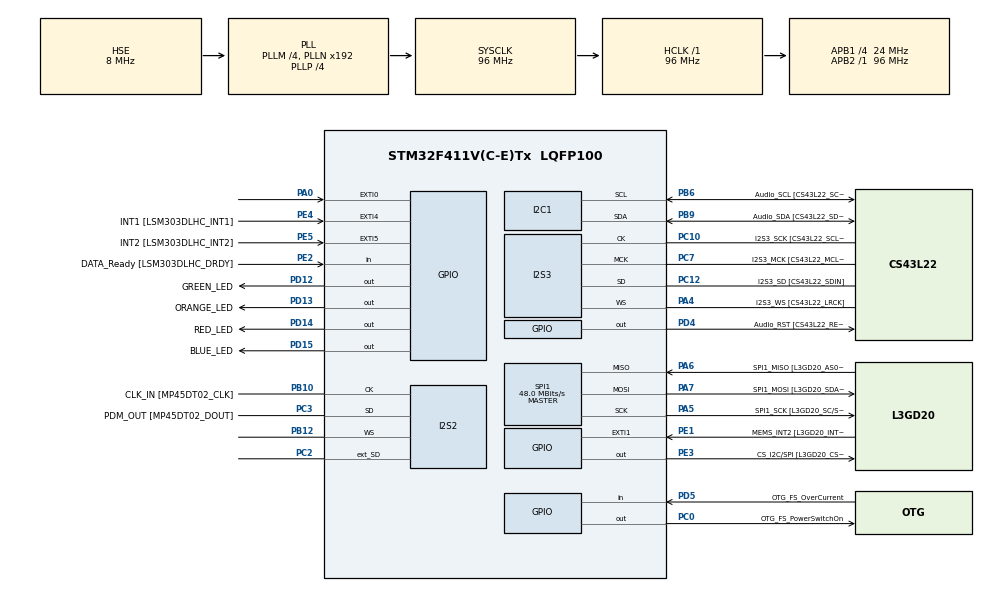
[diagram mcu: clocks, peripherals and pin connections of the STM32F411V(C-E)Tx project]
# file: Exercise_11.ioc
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FREERTOS.BinarySemaphores01=CriticalResourceSemaphore,Dynamic,NULL
FREERTOS.Tasks01=GREEN_LED,0,128,Start_GREEN_LED,Default,NULL,Dynamic,NULL,NULL;RED_LED,2,128,Start_RED_LED,Default,NULL,Dynamic,NULL,NULL;ORANGE_LED,1,128,Start_ORANGE_LED,Default,NULL,Dynamic,NULL,NULL
I2S2.AudioFreq=I2S_AUDIOFREQ_96K
I2S2.ErrorAudioFreq=0.15 %
I2S2.FullDuplexMode=I2S_FULLDUPLEXMODE_ENABLE
I2S2.Instance=SPI$Index
I2S2.RealAudioFreq=96.153 KHz
I2S2.VirtualMode=I2S_MODE_MASTER
I2S3.AudioFreq=I2S_AUDIOFREQ_96K
I2S3.ErrorAudioFreq=-6.99 %
I2S3.FullDuplexMode=I2S_FULLDUPLEXMODE_DISABLE
I2S3.Instance=SPI$Index
I2S3.RealAudioFreq=89.285 KHz
I2S3.VirtualMode=I2S_MODE_MASTER
Mcu.Family=STM32F4
Mcu.Name=STM32F411V(C-E)Tx
Mcu.Package=LQFP100
NVIC.PriorityGroup=NVIC_PRIORITYGROUP_4
NVIC.TIM1_UP_TIM10_IRQn=true\:0\:0\:false\:false\:true\:false\:false\:true
NVIC.TimeBase=TIM1_UP_TIM10_IRQn
NVIC.TimeBaseIP=TIM1
PA0-WKUP.GPIO_ModeDefaultEXTI=GPIO_MODE_EVT_RISING
PA0-WKUP.Signal=GPXTI0
PA10.GPIO_Label=OTG_FS_ID
PA10.Signal=USB_OTG_FS_ID
PA11.GPIO_Label=OTG_FS_DM
PA11.Signal=USB_OTG_FS_DM
PA12.GPIO_Label=OTG_FS_DP
PA12.Signal=USB_OTG_FS_DP
PA13.GPIO_Label=SWDIO
PA13.Mode=Serial_Wire
PA13.Signal=SYS_JTMS-SWDIO
PA14.GPIO_Label=SWCLK
PA14.Mode=Serial_Wire
PA14.Signal=SYS_JTCK-SWCLK
PA4.GPIO_Label=I2S3_WS [CS43L22_LRCK]
PA4.GPIO_Mode=GPIO_MODE_AF_PP
PA4.GPIO_PuPd=GPIO_NOPULL
PA4.GPIO_Speed=GPIO_SPEED_FREQ_LOW
PA4.Mode=Half_Duplex_Master
PA4.Signal=I2S3_WS
PA5.GPIO_Label=SPI1_SCK [L3GD20_SC/SPC]
PA5.Mode=Full_Duplex_Master
PA5.Signal=SPI1_SCK
PA6.GPIO_Label=SPI1_MISO [L3GD20_AS0/SDO]
PA6.Mode=Full_Duplex_Master
PA6.Signal=SPI1_MISO
PA7.GPIO_Label=SPI1_MOSI [L3GD20_SDA/SDI/SDO]
PA7.Mode=Full_Duplex_Master
PA7.Signal=SPI1_MOSI
PA9.GPIO_Label=VBUS_FS
PA9.Signal=USB_OTG_FS_VBUS
PB10.GPIO_Label=CLK_IN [MP45DT02_CLK]
PB10.Mode=Full_Duplex_Master
PB10.Signal=I2S2_CK
PB12.Mode=Full_Duplex_Master
PB12.Signal=I2S2_WS
PB3.GPIO_Label=SWO
PB3.Signal=SYS_JTDO-SWO
PB6.GPIO_Label=Audio_SCL [CS43L22_SCL]
PB6.GPIO_Mode=GPIO_MODE_AF_OD
PB6.GPIO_PuPd=GPIO_NOPULL
PB6.GPIO_Speed=GPIO_SPEED_FREQ_LOW
PB6.Mode=I2C
PB6.Signal=I2C1_SCL
PB9.GPIO_Label=Audio_SDA [CS43L22_SDA]
PB9.GPIO_Mode=GPIO_MODE_AF_OD
PB9.GPIO_PuPd=GPIO_NOPULL
PB9.GPIO_Speed=GPIO_SPEED_FREQ_LOW
PB9.Mode=I2C
PB9.Signal=I2C1_SDA
PC0.GPIO_Label=OTG_FS_PowerSwitchOn
PC0.PinState=GPIO_PIN_SET
PC0.Signal=GPIO_Output
PC10.GPIO_Label=I2S3_SCK [CS43L22_SCLK]
PC10.GPIO_Mode=GPIO_MODE_AF_PP
PC10.GPIO_PuPd=GPIO_NOPULL
PC10.GPIO_Speed=GPIO_SPEED_FREQ_LOW
PC10.Mode=Half_Duplex_Master
PC10.Signal=I2S3_CK
PC12.GPIO_Label=I2S3_SD [CS43L22_SDIN]
PC12.GPIO_Mode=GPIO_MODE_AF_PP
PC12.GPIO_PuPd=GPIO_NOPULL
PC12.GPIO_Speed=GPIO_SPEED_FREQ_LOW
PC12.Mode=Half_Duplex_Master
PC12.Signal=I2S3_SD
PC14-OSC32_IN.GPIO_Label=PC14-OSC32_IN
PC14-OSC32_IN.Mode=LSE-External-Oscillator
PC14-OSC32_IN.Signal=RCC_OSC32_IN
PC15-OSC32_OUT.GPIO_Label=PC15-OSC32_OUT
PC15-OSC32_OUT.Mode=LSE-External-Oscillator
PC15-OSC32_OUT.Signal=RCC_OSC32_OUT
PC2.Mode=Full_Duplex_Master
PC2.Signal=I2S2_ext_SD
PC3.GPIO_Label=PDM_OUT [MP45DT02_DOUT]
PC3.Mode=Full_Duplex_Master
PC3.Signal=I2S2_SD
PC7.GPIO_Label=I2S3_MCK [CS43L22_MCLK]
PC7.GPIO_Mode=GPIO_MODE_AF_PP
PC7.GPIO_PuPd=GPIO_NOPULL
PC7.GPIO_Speed=GPIO_SPEED_FREQ_LOW
PC7.Mode=Master_Clock_Activated
PC7.Signal=I2S3_MCK
PD12.GPIO_Label=GREEN_LED
PD12.GPIO_PuPd=GPIO_NOPULL
PD12.GPIO_Speed=GPIO_SPEED_FREQ_LOW
PD12.Signal=GPIO_Output
PD13.GPIO_Label=ORANGE_LED
PD13.GPIO_PuPd=GPIO_NOPULL
PD13.GPIO_Speed=GPIO_SPEED_FREQ_LOW
PD13.Signal=GPIO_Output
PD14.GPIO_Label=RED_LED
PD14.GPIO_PuPd=GPIO_NOPULL
PD14.GPIO_Speed=GPIO_SPEED_FREQ_LOW
PD14.Signal=GPIO_Output
PD15.GPIO_Label=BLUE_LED
PD15.GPIO_PuPd=GPIO_NOPULL
PD15.GPIO_Speed=GPIO_SPEED_FREQ_LOW
PD15.Signal=GPIO_Output
PD4.GPIO_Label=Audio_RST [CS43L22_RESET]
PD4.Signal=GPIO_Output
PD5.GPIO_Label=OTG_FS_OverCurrent
PD5.Signal=GPIO_Input
PE1.GPIO_Label=MEMS_INT2 [L3GD20_INT2]
PE1.GPIO_ModeDefaultEXTI=GPIO_MODE_EVT_RISING
PE1.Signal=GPXTI1
PE2.GPIO_Label=DATA_Ready [LSM303DLHC_DRDY]
PE2.Signal=GPIO_Input
PE3.GPIO_Label=CS_I2C/SPI [L3GD20_CS_I2C/SPI]
PE3.Signal=GPIO_Output
PE4.GPIO_Label=INT1 [LSM303DLHC_INT1]
PE4.GPIO_ModeDefaultEXTI=GPIO_MODE_EVT_RISING
PE4.Signal=GPXTI4
PE5.GPIO_Label=INT2 [LSM303DLHC_INT2]
PE5.GPIO_ModeDefaultEXTI=GPIO_MODE_EVT_RISING
PE5.Signal=GPXTI5
PH0\ -\ OSC_IN.GPIO_Label=PH0-OSC_IN
PH0\ -\ OSC_IN.Mode=HSE-External-Oscillator
PH0\ -\ OSC_IN.Signal=RCC_OSC_IN
PH1\ -\ OSC_OUT.GPIO_Label=PH1-OSC_OUT
PH1\ -\ OSC_OUT.Mode=HSE-External-Oscillator
PH1\ -\ OSC_OUT.Signal=RCC_OSC_OUT
ProjectManager.HeapSize=0x200
ProjectManager.StackSize=0x400
ProjectManager.TargetToolchain=STM32CubeIDE
RCC.48MHZClocksFreq_Value=48000000
RCC.AHBFreq_Value=96000000
RCC.APB1CLKDivider=RCC_HCLK_DIV4
RCC.APB1Freq_Value=24000000
RCC.APB1TimFreq_Value=48000000
RCC.APB2Freq_Value=96000000
RCC.APB2TimFreq_Value=96000000
RCC.CortexFreq_Value=96000000
RCC.HCLKFreq_Value=96000000
RCC.HSE_VALUE=8000000
RCC.HSI_VALUE=16000000
RCC.PLLI2SM=5
RCC.PLLI2SN=200
RCC.PLLM=4
RCC.PLLP=RCC_PLLP_DIV4
RCC.PLLQ=8
RCC.PLLSourceVirtual=RCC_PLLSOURCE_HSE
RCC.SYSCLKFreq_VALUE=96000000
RCC.SYSCLKSource=RCC_SYSCLKSOURCE_PLLCLK
RCC.VCOOutputFreq_Value=384000000
SPI1.BaudRatePrescaler=SPI_BAUDRATEPRESCALER_2
SPI1.CalculateBaudRate=48.0 MBits/s
SPI1.Direction=SPI_DIRECTION_2LINES
SPI1.Mode=SPI_MODE_MASTER
SPI1.VirtualType=VM_MASTER
VP_FREERTOS_VS_CMSIS_V1.Mode=CMSIS_V1
VP_SYS_VS_tim1.Mode=TIM1
board=STM32F411E-DISCO

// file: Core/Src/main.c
/* USER CODE BEGIN Header */
/**
  ******************************************************************************
  * @file           : main.c
  * @brief          : Main program body
  ******************************************************************************
  * @attention
  *
  * <h2><center>&copy; Copyright (c) 2024 STMicroelectronics.
  * All rights reserved.</center></h2>
  *
  * This software component is licensed by ST under Ultimate Liberty license
  * SLA0044, the "License"; You may not use this file except in compliance with
  * the License. You may obtain a copy of the License at:
  *                             www.st.com/SLA0044
  *
  ******************************************************************************
  */
/* USER CODE END Header */

#include "main.h"
#include "cmsis_os.h"

I2C_HandleTypeDef hi2c1;

I2S_HandleTypeDef hi2s2;
I2S_HandleTypeDef hi2s3;

SPI_HandleTypeDef hspi1;

osThreadId GREEN_LEDHandle;
osThreadId RED_LEDHandle;
osThreadId ORANGE_LEDHandle;
osSemaphoreId CriticalResourceSemaphoreHandle;

void SystemClock_Config(void);
static void MX_GPIO_Init(void);
static void MX_I2C1_Init(void);
static void MX_I2S2_Init(void);
static void MX_I2S3_Init(void);
static void MX_SPI1_Init(void);
void Start_GREEN_LED(void const * argument);
void Start_RED_LED(void const * argument);
void Start_ORANGE_LED(void const * argument);

/* USER CODE BEGIN 0 */
void accessFunction(int GPIO_PIN)
{
  osSemaphoreWait(CriticalResourceSemaphoreHandle, osWaitForever);
  for(int i = 0; i < 10; i++)
  {
	switch(GPIO_PIN)
	{
	case RED_LED_Pin:
		HAL_GPIO_WritePin(RED_LED_GPIO_Port, RED_LED_Pin,GPIO_PIN_SET);
		HAL_GPIO_WritePin(GREEN_LED_GPIO_Port, GREEN_LED_Pin,GPIO_PIN_RESET);
		break;
	case GREEN_LED_Pin:
		HAL_GPIO_WritePin(RED_LED_GPIO_Port, RED_LED_Pin,GPIO_PIN_RESET);
		HAL_GPIO_WritePin(GREEN_LED_GPIO_Port, GREEN_LED_Pin,GPIO_PIN_SET);
		break;
	}
	HAL_GPIO_TogglePin(BLUE_LED_GPIO_Port, BLUE_LED_Pin);
	for(int j = 0; j < 2000000; j++);
  }

  HAL_GPIO_WritePin(RED_LED_GPIO_Port, RED_LED_Pin,GPIO_PIN_RESET);
  HAL_GPIO_WritePin(GREEN_LED_GPIO_Port, GREEN_LED_Pin,GPIO_PIN_RESET);
  osSemaphoreRelease(CriticalResourceSemaphoreHandle);
  return;
}
/* USER CODE END 0 */

int main(void)
{

  /* MCU Configuration--------------------------------------------------------*/

  /* Reset of all peripherals, Initializes the Flash interface and the Systick. */
  HAL_Init();

  /* Configure the system clock */
  SystemClock_Config();

  /* Initialize all configured peripherals */
  MX_GPIO_Init();
  MX_I2C1_Init();
  MX_I2S2_Init();
  MX_I2S3_Init();
  MX_SPI1_Init();

  /* Create the semaphores(s) */
  /* definition and creation of CriticalResourceSemaphore */
  osSemaphoreDef(CriticalResourceSemaphore);
  CriticalResourceSemaphoreHandle = osSemaphoreCreate(osSemaphore(CriticalResourceSemaphore), 1);

  /* Create the thread(s) */
  /* definition and creation of GREEN_LED */
  osThreadDef(GREEN_LED, Start_GREEN_LED, osPriorityNormal, 0, 128);
  GREEN_LEDHandle = osThreadCreate(osThread(GREEN_LED), NULL);

  /* definition and creation of RED_LED */
  osThreadDef(RED_LED, Start_RED_LED, osPriorityHigh, 0, 128);
  RED_LEDHandle = osThreadCreate(osThread(RED_LED), NULL);

  /* definition and creation of ORANGE_LED */
  osThreadDef(ORANGE_LED, Start_ORANGE_LED, osPriorityAboveNormal, 0, 128);
  ORANGE_LEDHandle = osThreadCreate(osThread(ORANGE_LED), NULL);

  /* Start scheduler */
  osKernelStart();

  /* We should never get here as control is now taken by the scheduler */

  /* Infinite loop */
  while (1)
  {

  }
}

void SystemClock_Config(void)
{
  RCC_OscInitTypeDef RCC_OscInitStruct = {0};
  RCC_ClkInitTypeDef RCC_ClkInitStruct = {0};
  RCC_PeriphCLKInitTypeDef PeriphClkInitStruct = {0};

  /** Configure the main internal regulator output voltage
  */
  __HAL_RCC_PWR_CLK_ENABLE();
  __HAL_PWR_VOLTAGESCALING_CONFIG(PWR_REGULATOR_VOLTAGE_SCALE1);
  /** Initializes the CPU, AHB and APB busses clocks
  */
  RCC_OscInitStruct.OscillatorType = RCC_OSCILLATORTYPE_HSE;
  RCC_OscInitStruct.HSEState = RCC_HSE_ON;
  RCC_OscInitStruct.PLL.PLLState = RCC_PLL_ON;
  RCC_OscInitStruct.PLL.PLLSource = RCC_PLLSOURCE_HSE;
  RCC_OscInitStruct.PLL.PLLM = 4;
  RCC_OscInitStruct.PLL.PLLN = 192;
  RCC_OscInitStruct.PLL.PLLP = RCC_PLLP_DIV4;
  RCC_OscInitStruct.PLL.PLLQ = 8;
  if (HAL_RCC_OscConfig(&RCC_OscInitStruct) != HAL_OK)
  {
    Error_Handler();
  }
  /** Initializes the CPU, AHB and APB busses clocks
  */
  RCC_ClkInitStruct.ClockType = RCC_CLOCKTYPE_HCLK|RCC_CLOCKTYPE_SYSCLK
                              |RCC_CLOCKTYPE_PCLK1|RCC_CLOCKTYPE_PCLK2;
  RCC_ClkInitStruct.SYSCLKSource = RCC_SYSCLKSOURCE_PLLCLK;
  RCC_ClkInitStruct.AHBCLKDivider = RCC_SYSCLK_DIV1;
  RCC_ClkInitStruct.APB1CLKDivider = RCC_HCLK_DIV4;
  RCC_ClkInitStruct.APB2CLKDivider = RCC_HCLK_DIV1;

  if (HAL_RCC_ClockConfig(&RCC_ClkInitStruct, FLASH_LATENCY_3) != HAL_OK)
  {
    Error_Handler();
  }
  PeriphClkInitStruct.PeriphClockSelection = RCC_PERIPHCLK_I2S;
  PeriphClkInitStruct.PLLI2S.PLLI2SN = 200;
  PeriphClkInitStruct.PLLI2S.PLLI2SM = 5;
  PeriphClkInitStruct.PLLI2S.PLLI2SR = 2;
  if (HAL_RCCEx_PeriphCLKConfig(&PeriphClkInitStruct) != HAL_OK)
  {
    Error_Handler();
  }
}

static void MX_I2C1_Init(void)
{

  hi2c1.Instance = I2C1;
  hi2c1.Init.ClockSpeed = 100000;
  hi2c1.Init.DutyCycle = I2C_DUTYCYCLE_2;
  hi2c1.Init.OwnAddress1 = 0;
  hi2c1.Init.AddressingMode = I2C_ADDRESSINGMODE_7BIT;
  hi2c1.Init.DualAddressMode = I2C_DUALADDRESS_DISABLE;
  hi2c1.Init.OwnAddress2 = 0;
  hi2c1.Init.GeneralCallMode = I2C_GENERALCALL_DISABLE;
  hi2c1.Init.NoStretchMode = I2C_NOSTRETCH_DISABLE;
  if (HAL_I2C_Init(&hi2c1) != HAL_OK)
  {
    Error_Handler();
  }

}

static void MX_I2S2_Init(void)
{

  hi2s2.Instance = SPI2;
  hi2s2.Init.Mode = I2S_MODE_MASTER_TX;
  hi2s2.Init.Standard = I2S_STANDARD_PHILIPS;
  hi2s2.Init.DataFormat = I2S_DATAFORMAT_16B;
  hi2s2.Init.MCLKOutput = I2S_MCLKOUTPUT_DISABLE;
  hi2s2.Init.AudioFreq = I2S_AUDIOFREQ_96K;
  hi2s2.Init.CPOL = I2S_CPOL_LOW;
  hi2s2.Init.ClockSource = I2S_CLOCK_PLL;
  hi2s2.Init.FullDuplexMode = I2S_FULLDUPLEXMODE_ENABLE;
  if (HAL_I2S_Init(&hi2s2) != HAL_OK)
  {
    Error_Handler();
  }

}

static void MX_I2S3_Init(void)
{

  hi2s3.Instance = SPI3;
  hi2s3.Init.Mode = I2S_MODE_MASTER_TX;
  hi2s3.Init.Standard = I2S_STANDARD_PHILIPS;
  hi2s3.Init.DataFormat = I2S_DATAFORMAT_16B;
  hi2s3.Init.MCLKOutput = I2S_MCLKOUTPUT_ENABLE;
  hi2s3.Init.AudioFreq = I2S_AUDIOFREQ_96K;
  hi2s3.Init.CPOL = I2S_CPOL_LOW;
  hi2s3.Init.ClockSource = I2S_CLOCK_PLL;
  hi2s3.Init.FullDuplexMode = I2S_FULLDUPLEXMODE_DISABLE;
  if (HAL_I2S_Init(&hi2s3) != HAL_OK)
  {
    Error_Handler();
  }

}

static void MX_SPI1_Init(void)
{

  /* SPI1 parameter configuration*/
  hspi1.Instance = SPI1;
  hspi1.Init.Mode = SPI_MODE_MASTER;
  hspi1.Init.Direction = SPI_DIRECTION_2LINES;
  hspi1.Init.DataSize = SPI_DATASIZE_8BIT;
  hspi1.Init.CLKPolarity = SPI_POLARITY_LOW;
  hspi1.Init.CLKPhase = SPI_PHASE_1EDGE;
  hspi1.Init.NSS = SPI_NSS_SOFT;
  hspi1.Init.BaudRatePrescaler = SPI_BAUDRATEPRESCALER_2;
  hspi1.Init.FirstBit = SPI_FIRSTBIT_MSB;
  hspi1.Init.TIMode = SPI_TIMODE_DISABLE;
  hspi1.Init.CRCCalculation = SPI_CRCCALCULATION_DISABLE;
  hspi1.Init.CRCPolynomial = 10;
  if (HAL_SPI_Init(&hspi1) != HAL_OK)
  {
    Error_Handler();
  }

}

static void MX_GPIO_Init(void)
{
  GPIO_InitTypeDef GPIO_InitStruct = {0};

  /* GPIO Ports Clock Enable */
  __HAL_RCC_GPIOE_CLK_ENABLE();
  __HAL_RCC_GPIOC_CLK_ENABLE();
  __HAL_RCC_GPIOH_CLK_ENABLE();
  __HAL_RCC_GPIOA_CLK_ENABLE();
  __HAL_RCC_GPIOB_CLK_ENABLE();
  __HAL_RCC_GPIOD_CLK_ENABLE();

  /*Configure GPIO pin Output Level */
  HAL_GPIO_WritePin(CS_I2C_SPI_GPIO_Port, CS_I2C_SPI_Pin, GPIO_PIN_RESET);

  /*Configure GPIO pin Output Level */
  HAL_GPIO_WritePin(OTG_FS_PowerSwitchOn_GPIO_Port, OTG_FS_PowerSwitchOn_Pin, GPIO_PIN_SET);

  /*Configure GPIO pin Output Level */
  HAL_GPIO_WritePin(GPIOD, GREEN_LED_Pin|ORANGE_LED_Pin|RED_LED_Pin|BLUE_LED_Pin
                          |Audio_RST_Pin, GPIO_PIN_RESET);

  /*Configure GPIO pin : DATA_Ready_Pin */
  GPIO_InitStruct.Pin = DATA_Ready_Pin;
  GPIO_InitStruct.Mode = GPIO_MODE_INPUT;
  GPIO_InitStruct.Pull = GPIO_NOPULL;
  HAL_GPIO_Init(DATA_Ready_GPIO_Port, &GPIO_InitStruct);

  /*Configure GPIO pin : CS_I2C_SPI_Pin */
  GPIO_InitStruct.Pin = CS_I2C_SPI_Pin;
  GPIO_InitStruct.Mode = GPIO_MODE_OUTPUT_PP;
  GPIO_InitStruct.Pull = GPIO_NOPULL;
  GPIO_InitStruct.Speed = GPIO_SPEED_FREQ_LOW;
  HAL_GPIO_Init(CS_I2C_SPI_GPIO_Port, &GPIO_InitStruct);

  /*Configure GPIO pins : INT1_Pin INT2_Pin MEMS_INT2_Pin */
  GPIO_InitStruct.Pin = INT1_Pin|INT2_Pin|MEMS_INT2_Pin;
  GPIO_InitStruct.Mode = GPIO_MODE_EVT_RISING;
  GPIO_InitStruct.Pull = GPIO_NOPULL;
  HAL_GPIO_Init(GPIOE, &GPIO_InitStruct);

  /*Configure GPIO pin : OTG_FS_PowerSwitchOn_Pin */
  GPIO_InitStruct.Pin = OTG_FS_PowerSwitchOn_Pin;
  GPIO_InitStruct.Mode = GPIO_MODE_OUTPUT_PP;
  GPIO_InitStruct.Pull = GPIO_NOPULL;
  GPIO_InitStruct.Speed = GPIO_SPEED_FREQ_LOW;
  HAL_GPIO_Init(OTG_FS_PowerSwitchOn_GPIO_Port, &GPIO_InitStruct);

  /*Configure GPIO pin : PA0 */
  GPIO_InitStruct.Pin = GPIO_PIN_0;
  GPIO_InitStruct.Mode = GPIO_MODE_EVT_RISING;
  GPIO_InitStruct.Pull = GPIO_NOPULL;
  HAL_GPIO_Init(GPIOA, &GPIO_InitStruct);

  /*Configure GPIO pins : GREEN_LED_Pin ORANGE_LED_Pin RED_LED_Pin BLUE_LED_Pin
                           Audio_RST_Pin */
  GPIO_InitStruct.Pin = GREEN_LED_Pin|ORANGE_LED_Pin|RED_LED_Pin|BLUE_LED_Pin
                          |Audio_RST_Pin;
  GPIO_InitStruct.Mode = GPIO_MODE_OUTPUT_PP;
  GPIO_InitStruct.Pull = GPIO_NOPULL;
  GPIO_InitStruct.Speed = GPIO_SPEED_FREQ_LOW;
  HAL_GPIO_Init(GPIOD, &GPIO_InitStruct);

  /*Configure GPIO pin : VBUS_FS_Pin */
  GPIO_InitStruct.Pin = VBUS_FS_Pin;
  GPIO_InitStruct.Mode = GPIO_MODE_INPUT;
  GPIO_InitStruct.Pull = GPIO_NOPULL;
  HAL_GPIO_Init(VBUS_FS_GPIO_Port, &GPIO_InitStruct);

  /*Configure GPIO pins : OTG_FS_ID_Pin OTG_FS_DM_Pin OTG_FS_DP_Pin */
  GPIO_InitStruct.Pin = OTG_FS_ID_Pin|OTG_FS_DM_Pin|OTG_FS_DP_Pin;
  GPIO_InitStruct.Mode = GPIO_MODE_AF_PP;
  GPIO_InitStruct.Pull = GPIO_NOPULL;
  GPIO_InitStruct.Speed = GPIO_SPEED_FREQ_VERY_HIGH;
  GPIO_InitStruct.Alternate = GPIO_AF10_OTG_FS;
  HAL_GPIO_Init(GPIOA, &GPIO_InitStruct);

  /*Configure GPIO pin : OTG_FS_OverCurrent_Pin */
  GPIO_InitStruct.Pin = OTG_FS_OverCurrent_Pin;
  GPIO_InitStruct.Mode = GPIO_MODE_INPUT;
  GPIO_InitStruct.Pull = GPIO_NOPULL;
  HAL_GPIO_Init(OTG_FS_OverCurrent_GPIO_Port, &GPIO_InitStruct);

}

void Start_GREEN_LED(void const * argument)
{
  /* USER CODE BEGIN 5 */
  /* Infinite loop */
  for(;;)
  {
	  accessFunction(GREEN_LED_Pin);
	  for(int i = 0; i < 20; i++)
	  {
		HAL_GPIO_TogglePin(GREEN_LED_GPIO_Port, GREEN_LED_Pin);
		for(int j = 0; j < 2000000; j++);
	  }
	  vTaskSuspend(NULL);
  }
  /* USER CODE END 5 */
}

void Start_RED_LED(void const * argument)
{
  /* USER CODE BEGIN Start_RED_LED */
  /* Infinite loop */
  for(;;)
  {
	  osDelay(1000);
	  accessFunction(RED_LED_Pin);
	  for(int i = 0; i < 20; i++)
	  {
		HAL_GPIO_TogglePin(RED_LED_GPIO_Port, RED_LED_Pin);
		for(int j = 0; j < 2000000; j++);
	  }
	  vTaskSuspend(NULL);
  }
  /* USER CODE END Start_RED_LED */
}

void Start_ORANGE_LED(void const * argument)
{
  /* USER CODE BEGIN Start_ORANGE_LED */
  /* Infinite loop */
  for(;;)
  {
	osDelay(1000);
	for(int i = 0; i < 20; i++)
	{
	  HAL_GPIO_TogglePin(ORANGE_LED_GPIO_Port, ORANGE_LED_Pin);
	  for(int j = 0; j < 2000000; j++);
	}
	vTaskSuspend(NULL);
  }
  /* USER CODE END Start_ORANGE_LED */
}

void HAL_TIM_PeriodElapsedCallback(TIM_HandleTypeDef *htim)
{
  if (htim->Instance == TIM1) {
    HAL_IncTick();
  }
}

void Error_Handler(void)
{
}

/************************ (C) COPYRIGHT STMicroelectronics *****END OF FILE****/
